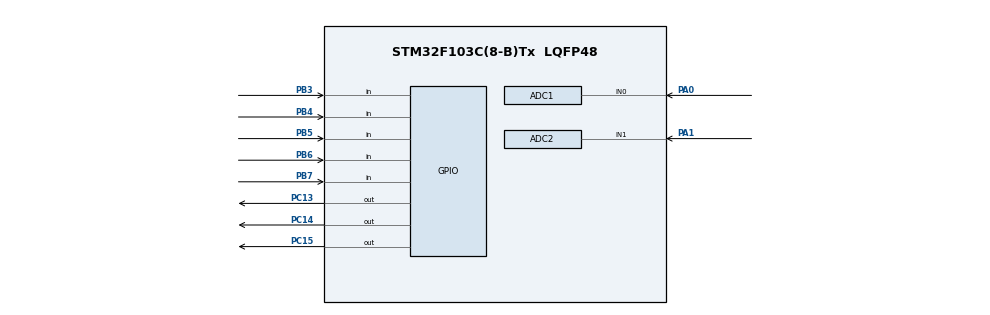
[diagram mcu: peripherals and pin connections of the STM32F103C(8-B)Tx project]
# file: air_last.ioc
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ADC1.Channel-0\#ChannelRegularConversion=ADC_CHANNEL_0
ADC1.ContinuousConvMode=DISABLE
ADC1.DataAlign=ADC_DATAALIGN_RIGHT
ADC1.DiscontinuousConvMode=DISABLE
ADC1.EnableAnalogWatchDog=false
ADC1.EnableRegularConversion=ENABLE
ADC1.ExternalTrigConvEdgeChoice=NONE
ADC1.InjNumberOfConversion=0
ADC1.NbrOfConversion=1
ADC1.NbrOfConversionFlag=1
ADC1.Rank-0\#ChannelRegularConversion=1
ADC1.SamplingTime-0\#ChannelRegularConversion=ADC_SAMPLETIME_1CYCLE_5
ADC1.ScanConvMode=ADC_SCAN_DISABLE
ADC1.master=1
ADC2.Channel-12\#ChannelRegularConversion=ADC_CHANNEL_1
ADC2.NbrOfConversionFlag=1
ADC2.Rank-12\#ChannelRegularConversion=1
ADC2.SamplingTime-12\#ChannelRegularConversion=ADC_SAMPLETIME_1CYCLE_5
Mcu.Family=STM32F1
Mcu.Name=STM32F103C(8-B)Tx
Mcu.Package=LQFP48
NVIC.PriorityGroup=NVIC_PRIORITYGROUP_4
PA0-WKUP.Signal=ADCx_IN0
PA1.Signal=ADCx_IN1
PA13.Mode=Serial_Wire
PA13.Signal=SYS_JTMS-SWDIO
PA14.Mode=Serial_Wire
PA14.Signal=SYS_JTCK-SWCLK
PB3.GPIO_PuPd=GPIO_PULLDOWN
PB3.Signal=GPIO_Input
PB4.GPIO_PuPd=GPIO_PULLDOWN
PB4.Signal=GPIO_Input
PB5.GPIO_PuPd=GPIO_PULLDOWN
PB5.Signal=GPIO_Input
PB6.GPIO_PuPd=GPIO_PULLDOWN
PB6.Signal=GPIO_Input
PB7.GPIO_PuPd=GPIO_PULLDOWN
PB7.Signal=GPIO_Input
PC13-TAMPER-RTC.Signal=GPIO_Output
PC14-OSC32_IN.Signal=GPIO_Output
PC15-OSC32_OUT.GPIO_ModeDefaultOutputPP=GPIO_MODE_OUTPUT_PP
PC15-OSC32_OUT.Signal=GPIO_Output
PD0-OSC_IN.Mode=HSE-External-Oscillator
PD0-OSC_IN.Signal=RCC_OSC_IN
PD1-OSC_OUT.Mode=HSE-External-Oscillator
PD1-OSC_OUT.Signal=RCC_OSC_OUT
ProjectManager.HeapSize=0x200
ProjectManager.StackSize=0x400
ProjectManager.TargetToolchain=EWARM
RCC.APB1Freq_Value=8000000
RCC.APB2Freq_Value=8000000
RCC.PLLSourceVirtual=RCC_PLLSOURCE_HSE
RCC.SYSCLKSource=RCC_SYSCLKSOURCE_HSE
RCC.USBFreq_Value=16000000
SH.ADCx_IN0.0=ADC1_IN0,IN0
SH.ADCx_IN1.0=ADC2_IN1,IN1
board=air_last

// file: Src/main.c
#include "main.h"
#include "stm32f1xx_hal.h"

ADC_HandleTypeDef hadc1;
ADC_HandleTypeDef hadc2;

/* USER CODE BEGIN PV */
/* Private variables ---------------------------------------------------------*/

/* USER CODE END PV */

void SystemClock_Config(void);
void Error_Handler(void);
static void MX_GPIO_Init(void);
static void MX_ADC1_Init(void);
static void MX_ADC2_Init(void);
void GetAdcValue(uint32_t* Time_poliv_ms, uint32_t* Time_svet_s);

/* USER CODE BEGIN PFP */
/* Private function prototypes -----------------------------------------------*/

/* USER CODE END PFP */

int main(void)
{

  /* MCU Configuration----------------------------------------------------------*/

  /* Reset of all peripherals, Initializes the Flash interface and the Systick. */
  HAL_Init();

  /* Configure the system clock */
  SystemClock_Config();

  /* Initialize all configured peripherals */
  MX_GPIO_Init();
  MX_ADC1_Init();
  MX_ADC2_Init();

  /* USER CODE BEGIN 2 */
  uint32_t Time_poliv_ms=0;
  uint32_t Time_svet_s=0;
  uint32_t time_s=0;
  uint32_t time_ms=HAL_GetTick();
  uint8_t poliv=0;
  uint32_t poliv_t = 0;
  uint8_t cvet=0;
  uint8_t svetit=0;
  uint32_t cvetit=0;
  /* USER CODE END 2 */
  GetAdcValue(&Time_poliv_ms, &Time_svet_s);
  /* Infinite loop */
  while (1)
  {
 /*
    HAL_GPIO_TogglePin (GPIOC, GPIO_PIN_13);   */
     GetAdcValue(&Time_poliv_ms, &Time_svet_s);
      if (HAL_GPIO_ReadPin(GPIOB, GPIO_PIN_7)== GPIO_PIN_SET)
      {
        Time_poliv_ms=Time_poliv_ms*12;
      }
      /*
      if (HAL_GPIO_ReadPin(GPIOB, GPIO_PIN_6)== GPIO_PIN_SET)
      {
        Time_svet_s=Time_svet_s*5;
      }
    */
    //dosvet
    if (!cvet)
      {
        if (HAL_GPIO_ReadPin(GPIOB, GPIO_PIN_5)== GPIO_PIN_SET)
        {
            cvet=1;
            cvetit=time_s;
            svetit=1;

        }
        else if (time_s>64800)
        {
            cvet=1;
            cvetit=time_s;
            svetit=1;
        }
      }
    if (cvet&&svetit)
    {
       HAL_GPIO_WritePin(GPIOC, GPIO_PIN_14, GPIO_PIN_SET);
    //   HAL_GPIO_WritePin(GPIOC, GPIO_PIN_13, GPIO_PIN_RESET);
        if (time_s>cvetit+21600)
          {
             HAL_GPIO_WritePin(GPIOC, GPIO_PIN_14, GPIO_PIN_RESET);
      //        HAL_GPIO_WritePin(GPIOC, GPIO_PIN_13, GPIO_PIN_SET);
              svetit=0;
          }
    }

    //poliv
    if (!poliv)  //Time_poliv_ms
      {

         HAL_GPIO_WritePin(GPIOC, GPIO_PIN_15, GPIO_PIN_SET);  //15
      //     HAL_GPIO_WritePin(GPIOC, GPIO_PIN_13, GPIO_PIN_RESET);
         poliv_t=HAL_GetTick();
         poliv=1;

      }
    if (HAL_GetTick() > poliv_t+Time_poliv_ms)
        {
          HAL_GPIO_WritePin(GPIOC, GPIO_PIN_15, GPIO_PIN_RESET);
    //      HAL_GPIO_WritePin(GPIOC, GPIO_PIN_13, GPIO_PIN_SET);

        }

  //vremya 1 second

            if (time_ms+1000<HAL_GetTick())
            {
             time_ms=HAL_GetTick();
             HAL_GPIO_TogglePin (GPIOC, GPIO_PIN_13);
             time_s++;
            }

  //day = new day

    if (time_s==86400)
      {
        time_s=0;
        poliv=0;
        cvet=0;
      }

   // HAL_Delay(100);

  }

}

/** System Clock Configuration
*/
void SystemClock_Config(void)
{

  RCC_OscInitTypeDef RCC_OscInitStruct;
  RCC_ClkInitTypeDef RCC_ClkInitStruct;
  RCC_PeriphCLKInitTypeDef PeriphClkInit;

    /**Initializes the CPU, AHB and APB busses clocks
    */
  RCC_OscInitStruct.OscillatorType = RCC_OSCILLATORTYPE_HSE;
  RCC_OscInitStruct.HSEState = RCC_HSE_ON;
  RCC_OscInitStruct.PLL.PLLState = RCC_PLL_NONE;
  if (HAL_RCC_OscConfig(&RCC_OscInitStruct) != HAL_OK)
  {
    Error_Handler();
  }

    /**Initializes the CPU, AHB and APB busses clocks
    */
  RCC_ClkInitStruct.ClockType = RCC_CLOCKTYPE_HCLK|RCC_CLOCKTYPE_SYSCLK
                              |RCC_CLOCKTYPE_PCLK1|RCC_CLOCKTYPE_PCLK2;
  RCC_ClkInitStruct.SYSCLKSource = RCC_SYSCLKSOURCE_HSE;
  RCC_ClkInitStruct.AHBCLKDivider = RCC_SYSCLK_DIV1;
  RCC_ClkInitStruct.APB1CLKDivider = RCC_HCLK_DIV1;
  RCC_ClkInitStruct.APB2CLKDivider = RCC_HCLK_DIV1;

  if (HAL_RCC_ClockConfig(&RCC_ClkInitStruct, FLASH_LATENCY_0) != HAL_OK)
  {
    Error_Handler();
  }

  PeriphClkInit.PeriphClockSelection = RCC_PERIPHCLK_ADC;
  PeriphClkInit.AdcClockSelection = RCC_ADCPCLK2_DIV2;
  if (HAL_RCCEx_PeriphCLKConfig(&PeriphClkInit) != HAL_OK)
  {
    Error_Handler();
  }

    /**Configure the Systick interrupt time
    */
  HAL_SYSTICK_Config(HAL_RCC_GetHCLKFreq()/1000);

    /**Configure the Systick
    */
  HAL_SYSTICK_CLKSourceConfig(SYSTICK_CLKSOURCE_HCLK);

  /* SysTick_IRQn interrupt configuration */
  HAL_NVIC_SetPriority(SysTick_IRQn, 0, 0);
}

/* ADC1 init function */
static void MX_ADC1_Init(void)
{

  ADC_ChannelConfTypeDef sConfig;

    /**Common config
    */
  hadc1.Instance = ADC1;
  hadc1.Init.ScanConvMode = ADC_SCAN_DISABLE;
  hadc1.Init.ContinuousConvMode = DISABLE;
  hadc1.Init.DiscontinuousConvMode = DISABLE;
  hadc1.Init.ExternalTrigConv = ADC_SOFTWARE_START;
  hadc1.Init.DataAlign = ADC_DATAALIGN_RIGHT;
  hadc1.Init.NbrOfConversion = 1;
  if (HAL_ADC_Init(&hadc1) != HAL_OK)
  {
    Error_Handler();
  }

    /**Configure Regular Channel
    */
  sConfig.Channel = ADC_CHANNEL_0;
  sConfig.Rank = 1;
  sConfig.SamplingTime = ADC_SAMPLETIME_1CYCLE_5;
  if (HAL_ADC_ConfigChannel(&hadc1, &sConfig) != HAL_OK)
  {
    Error_Handler();
  }

}

/* ADC2 init function */
static void MX_ADC2_Init(void)
{

  ADC_ChannelConfTypeDef sConfig;

    /**Common config
    */
  hadc2.Instance = ADC2;
  hadc2.Init.ScanConvMode = ADC_SCAN_DISABLE;
  hadc2.Init.ContinuousConvMode = DISABLE;
  hadc2.Init.DiscontinuousConvMode = DISABLE;
  hadc2.Init.ExternalTrigConv = ADC_SOFTWARE_START;
  hadc2.Init.DataAlign = ADC_DATAALIGN_RIGHT;
  hadc2.Init.NbrOfConversion = 1;
  if (HAL_ADC_Init(&hadc2) != HAL_OK)
  {
    Error_Handler();
  }

    /**Configure Regular Channel
    */
  sConfig.Channel = ADC_CHANNEL_1;
  sConfig.Rank = 1;
  sConfig.SamplingTime = ADC_SAMPLETIME_1CYCLE_5;
  if (HAL_ADC_ConfigChannel(&hadc2, &sConfig) != HAL_OK)
  {
    Error_Handler();
  }

}

/** Configure pins as
        * Analog
        * Input
        * Output
        * EVENT_OUT
        * EXTI
*/
static void MX_GPIO_Init(void)
{

  GPIO_InitTypeDef GPIO_InitStruct;

  /* GPIO Ports Clock Enable */
  __HAL_RCC_GPIOC_CLK_ENABLE();
  __HAL_RCC_GPIOD_CLK_ENABLE();
  __HAL_RCC_GPIOA_CLK_ENABLE();
  __HAL_RCC_GPIOB_CLK_ENABLE();

  /*Configure GPIO pin Output Level */
  HAL_GPIO_WritePin(GPIOC, GPIO_PIN_13|GPIO_PIN_14|GPIO_PIN_15, GPIO_PIN_RESET);

  /*Configure GPIO pins : PC13 PC14 PC15 */
  GPIO_InitStruct.Pin = GPIO_PIN_13|GPIO_PIN_14|GPIO_PIN_15;
  GPIO_InitStruct.Mode = GPIO_MODE_OUTPUT_PP;
  GPIO_InitStruct.Speed = GPIO_SPEED_FREQ_LOW;
  HAL_GPIO_Init(GPIOC, &GPIO_InitStruct);

  /*Configure GPIO pins : PB3 PB4 PB5 PB6
                           PB7 */
  GPIO_InitStruct.Pin = GPIO_PIN_3|GPIO_PIN_4|GPIO_PIN_5|GPIO_PIN_6
                          |GPIO_PIN_7;
  GPIO_InitStruct.Mode = GPIO_MODE_INPUT;
  GPIO_InitStruct.Pull = GPIO_PULLDOWN;
  HAL_GPIO_Init(GPIOB, &GPIO_InitStruct);

}

/* USER CODE BEGIN 4 */
//adc return
void GetAdcValue(uint32_t* Time_poliv_ms, uint32_t* Time_svet_s)
  {

     HAL_ADC_Start(&hadc1);
      HAL_ADC_PollForConversion(&hadc1,100);

        *Time_svet_s=((uint32_t)HAL_ADC_GetValue(&hadc1));

      HAL_ADC_Stop(&hadc1);

      HAL_ADC_Start(&hadc2);
      HAL_ADC_PollForConversion(&hadc2,100);
        *Time_poliv_ms=((uint32_t)HAL_ADC_GetValue(&hadc2)); //5.3
      HAL_ADC_Stop(&hadc2);

  }
/* USER CODE END 4 */

void Error_Handler(void)
{
  while(1)
  {
  }
}

/************************ (C) COPYRIGHT STMicroelectronics *****END OF FILE****/
